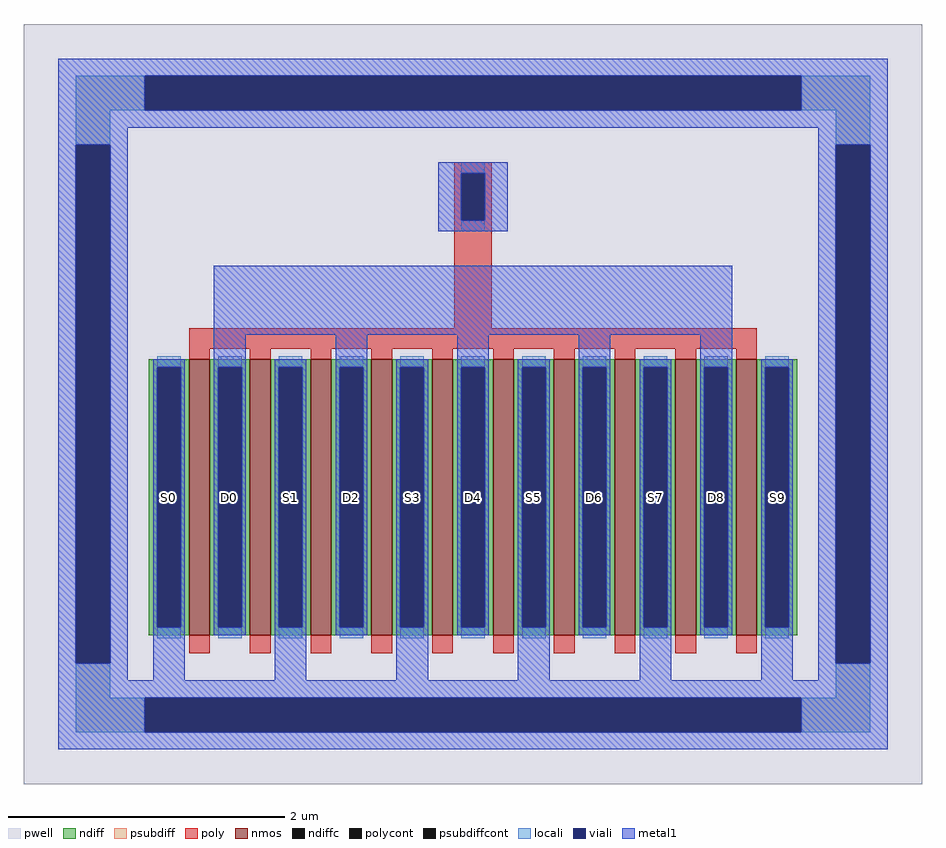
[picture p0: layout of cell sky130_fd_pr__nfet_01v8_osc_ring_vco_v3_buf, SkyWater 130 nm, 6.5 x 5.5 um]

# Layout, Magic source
magic
tech sky130A
magscale 1 2
<< pwell >>
rect -400 -850 900 250
<< nmos >>
rect -161 -635 -131 -235
rect -73 -635 -43 -235
rect 15 -635 45 -235
rect 103 -635 133 -235
rect 191 -635 221 -235
rect 279 -635 309 -235
rect 367 -635 397 -235
rect 455 -635 485 -235
rect 543 -635 573 -235
rect 631 -635 661 -235
<< ndiff >>
rect -219 -247 -161 -235
rect -219 -623 -207 -247
rect -173 -623 -161 -247
rect -219 -635 -161 -623
rect -131 -247 -73 -235
rect -131 -623 -119 -247
rect -85 -623 -73 -247
rect -131 -635 -73 -623
rect -43 -247 15 -235
rect -43 -623 -31 -247
rect 3 -623 15 -247
rect -43 -635 15 -623
rect 45 -247 103 -235
rect 45 -623 57 -247
rect 91 -623 103 -247
rect 45 -635 103 -623
rect 133 -247 191 -235
rect 133 -623 145 -247
rect 179 -623 191 -247
rect 133 -635 191 -623
rect 221 -247 279 -235
rect 221 -623 233 -247
rect 267 -623 279 -247
rect 221 -635 279 -623
rect 309 -247 367 -235
rect 309 -623 321 -247
rect 355 -623 367 -247
rect 309 -635 367 -623
rect 397 -247 455 -235
rect 397 -623 409 -247
rect 443 -623 455 -247
rect 397 -635 455 -623
rect 485 -247 543 -235
rect 485 -623 497 -247
rect 531 -623 543 -247
rect 485 -635 543 -623
rect 573 -247 631 -235
rect 573 -623 585 -247
rect 619 -623 631 -247
rect 573 -635 631 -623
rect 661 -247 719 -235
rect 661 -623 673 -247
rect 707 -623 719 -247
rect 661 -635 719 -623
<< ndiffc >>
rect -207 -623 -173 -247
rect -119 -623 -85 -247
rect -31 -623 3 -247
rect 57 -623 91 -247
rect 145 -623 179 -247
rect 233 -623 267 -247
rect 321 -623 355 -247
rect 409 -623 443 -247
rect 497 -623 531 -247
rect 585 -623 619 -247
rect 673 -623 707 -247
<< psubdiff >>
rect -325 125 -225 175
rect 725 125 825 175
rect -325 75 -275 125
rect 775 75 825 125
rect -325 -725 -275 -675
rect 775 -725 825 -675
rect -325 -775 -225 -725
rect 725 -775 825 -725
<< psubdiffcont >>
rect -225 125 725 175
rect -325 -675 -275 75
rect 775 -675 825 75
rect -225 -775 725 -725
<< poly >>
rect 223 34 277 50
rect 223 -34 233 34
rect 267 -34 277 34
rect 223 -190 277 -34
rect -161 -220 661 -190
rect -161 -235 -131 -220
rect -73 -235 -43 -220
rect 15 -235 45 -220
rect 103 -235 133 -220
rect 191 -235 221 -220
rect 279 -235 309 -220
rect 367 -235 397 -220
rect 455 -235 485 -220
rect 543 -235 573 -220
rect 631 -235 661 -220
rect -161 -661 -131 -635
rect -73 -661 -43 -635
rect 15 -661 45 -635
rect 103 -661 133 -635
rect 191 -661 221 -635
rect 279 -661 309 -635
rect 367 -661 397 -635
rect 455 -661 485 -635
rect 543 -661 573 -635
rect 631 -661 661 -635
<< polycont >>
rect 233 -34 267 34
<< locali >>
rect -325 125 -225 175
rect 725 125 825 175
rect -325 75 -275 125
rect 775 75 825 125
rect 233 34 267 50
rect 233 -50 267 -34
rect -207 -247 -173 -231
rect -207 -639 -173 -623
rect -119 -247 -85 -231
rect -119 -639 -85 -623
rect -31 -247 3 -231
rect -31 -639 3 -623
rect 57 -247 91 -231
rect 57 -639 91 -623
rect 145 -247 179 -231
rect 145 -639 179 -623
rect 233 -247 267 -231
rect 233 -639 267 -623
rect 321 -247 355 -231
rect 321 -639 355 -623
rect 409 -247 443 -231
rect 409 -639 443 -623
rect 497 -247 531 -231
rect 497 -639 531 -623
rect 585 -247 619 -231
rect 585 -639 619 -623
rect 673 -247 707 -231
rect 673 -639 707 -623
rect -325 -725 -275 -675
rect 775 -725 825 -675
rect -325 -775 -225 -725
rect 725 -775 825 -725
<< viali >>
rect -225 125 725 175
rect -325 -675 -275 75
rect 233 -34 267 34
rect -207 -623 -173 -247
rect -119 -623 -85 -247
rect -31 -623 3 -247
rect 57 -623 91 -247
rect 145 -623 179 -247
rect 233 -623 267 -247
rect 321 -623 355 -247
rect 409 -623 443 -247
rect 497 -623 531 -247
rect 585 -623 619 -247
rect 673 -623 707 -247
rect 775 -675 825 75
rect -225 -775 725 -725
<< metal1 >>
rect -350 175 850 200
rect -350 125 -225 175
rect 725 125 850 175
rect -350 100 850 125
rect -350 75 -250 100
rect -350 -675 -325 75
rect -275 -675 -250 75
rect 750 75 850 100
rect 200 34 300 50
rect 200 -34 233 34
rect 267 -34 300 34
rect 200 -50 300 -34
rect -125 -200 625 -100
rect -350 -700 -250 -675
rect -213 -247 -167 -235
rect -213 -623 -207 -247
rect -173 -623 -167 -247
rect -213 -700 -167 -623
rect -125 -247 -79 -200
rect -125 -623 -119 -247
rect -85 -623 -79 -247
rect -125 -635 -79 -623
rect -37 -247 9 -235
rect -37 -623 -31 -247
rect 3 -623 9 -247
rect -37 -700 9 -623
rect 51 -247 97 -200
rect 51 -623 57 -247
rect 91 -623 97 -247
rect 51 -635 97 -623
rect 139 -247 185 -235
rect 139 -623 145 -247
rect 179 -623 185 -247
rect 139 -700 185 -623
rect 227 -247 273 -200
rect 227 -623 233 -247
rect 267 -623 273 -247
rect 227 -635 273 -623
rect 315 -247 361 -235
rect 315 -623 321 -247
rect 355 -623 361 -247
rect 315 -700 361 -623
rect 403 -247 449 -200
rect 403 -623 409 -247
rect 443 -623 449 -247
rect 403 -635 449 -623
rect 491 -247 537 -235
rect 491 -623 497 -247
rect 531 -623 537 -247
rect 491 -700 537 -623
rect 579 -247 625 -200
rect 579 -623 585 -247
rect 619 -623 625 -247
rect 579 -635 625 -623
rect 667 -247 713 -235
rect 667 -623 673 -247
rect 707 -623 713 -247
rect 667 -700 713 -623
rect 750 -675 775 75
rect 825 -675 850 75
rect 750 -700 850 -675
rect -350 -725 850 -700
rect -350 -775 -225 -725
rect 725 -775 850 -725
rect -350 -800 850 -775
<< labels >>
rlabel ndiffc -102 -435 -102 -435 0 D0
port 9 nsew
rlabel ndiffc -190 -435 -190 -435 0 S0
port 10 nsew
rlabel ndiffc -14 -435 -14 -435 0 S1
port 13 nsew
rlabel ndiffc -102 -435 -102 -435 0 D1
port 12 nsew
rlabel ndiffc 74 -435 74 -435 0 D2
port 39 nsew
rlabel ndiffc -14 -435 -14 -435 0 S2
port 40 nsew
rlabel ndiffc 74 -435 74 -435 0 D3
port 42 nsew
rlabel ndiffc 162 -435 162 -435 0 S3
port 43 nsew
rlabel ndiffc 250 -435 250 -435 0 D4
port 45 nsew
rlabel ndiffc 162 -435 162 -435 0 S4
port 46 nsew
rlabel ndiffc 250 -435 250 -435 0 D5
port 48 nsew
rlabel ndiffc 338 -435 338 -435 0 S5
port 49 nsew
rlabel ndiffc 426 -435 426 -435 0 D6
port 51 nsew
rlabel ndiffc 338 -435 338 -435 0 S6
port 52 nsew
rlabel ndiffc 426 -435 426 -435 0 D7
port 54 nsew
rlabel ndiffc 514 -435 514 -435 0 S7
port 55 nsew
rlabel ndiffc 602 -435 602 -435 0 D8
port 57 nsew
rlabel ndiffc 514 -435 514 -435 0 S8
port 58 nsew
rlabel ndiffc 602 -435 602 -435 0 D9
port 60 nsew
rlabel ndiffc 690 -435 690 -435 0 S9
port 61 nsew
<< end >>
